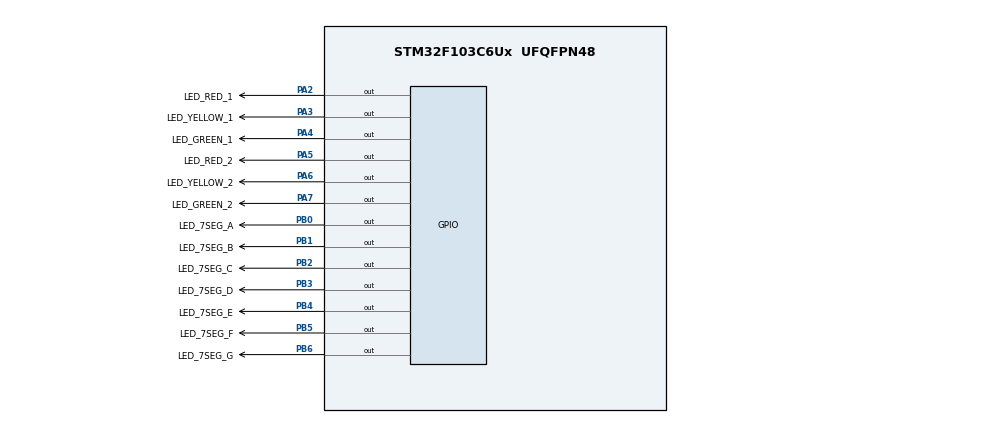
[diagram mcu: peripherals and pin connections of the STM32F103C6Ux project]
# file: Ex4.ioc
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Mcu.Family=STM32F1
Mcu.Name=STM32F103C6Ux
Mcu.Package=UFQFPN48
NVIC.PriorityGroup=NVIC_PRIORITYGROUP_4
PA2.GPIO_Label=LED_RED_1
PA2.Signal=GPIO_Output
PA3.GPIO_Label=LED_YELLOW_1
PA3.Signal=GPIO_Output
PA4.GPIO_Label=LED_GREEN_1
PA4.Signal=GPIO_Output
PA5.GPIO_Label=LED_RED_2
PA5.Signal=GPIO_Output
PA6.GPIO_Label=LED_YELLOW_2
PA6.Signal=GPIO_Output
PA7.GPIO_Label=LED_GREEN_2
PA7.Signal=GPIO_Output
PB0.GPIO_Label=LED_7SEG_A
PB0.Signal=GPIO_Output
PB1.GPIO_Label=LED_7SEG_B
PB1.Signal=GPIO_Output
PB2.GPIO_Label=LED_7SEG_C
PB2.Signal=GPIO_Output
PB3.GPIO_Label=LED_7SEG_D
PB3.Signal=GPIO_Output
PB4.GPIO_Label=LED_7SEG_E
PB4.Signal=GPIO_Output
PB5.GPIO_Label=LED_7SEG_F
PB5.Signal=GPIO_Output
PB6.GPIO_Label=LED_7SEG_G
PB6.Signal=GPIO_Output
ProjectManager.HeapSize=0x200
ProjectManager.StackSize=0x400
ProjectManager.TargetToolchain=STM32CubeIDE
RCC.APB1Freq_Value=8000000
RCC.APB2Freq_Value=8000000
VP_SYS_VS_ND.Mode=No_Debug
board=custom

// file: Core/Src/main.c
/* USER CODE BEGIN Header */
/**
  ******************************************************************************
  * @file           : main.c
  * @brief          : Main program body
  ******************************************************************************
  * @attention
  *
  * <h2><center>&copy; Copyright (c) 2022 STMicroelectronics.
  * All rights reserved.</center></h2>
  *
  * This software component is licensed by ST under BSD 3-Clause license,
  * the "License"; You may not use this file except in compliance with the
  * License. You may obtain a copy of the License at:
  *                        opensource.org/licenses/BSD-3-Clause
  *
  ******************************************************************************
  */
/* USER CODE END Header */
#include "main.h"

void SystemClock_Config(void);
static void MX_GPIO_Init(void);

void display7SEG(int num){
	switch(num){
	case 0:
		HAL_GPIO_WritePin(LED_7SEG_A_GPIO_Port, LED_7SEG_A_Pin, 0);
		HAL_GPIO_WritePin(LED_7SEG_B_GPIO_Port, LED_7SEG_B_Pin, 0);
		HAL_GPIO_WritePin(LED_7SEG_C_GPIO_Port, LED_7SEG_C_Pin, 0);
		HAL_GPIO_WritePin(LED_7SEG_D_GPIO_Port, LED_7SEG_D_Pin, 0);
		HAL_GPIO_WritePin(LED_7SEG_E_GPIO_Port, LED_7SEG_E_Pin, 0);
		HAL_GPIO_WritePin(LED_7SEG_F_GPIO_Port, LED_7SEG_F_Pin, 0);
		HAL_GPIO_WritePin(LED_7SEG_G_GPIO_Port, LED_7SEG_G_Pin, 1);
		break;
	case 1:
		HAL_GPIO_WritePin(LED_7SEG_A_GPIO_Port, LED_7SEG_A_Pin, 1);
		HAL_GPIO_WritePin(LED_7SEG_B_GPIO_Port, LED_7SEG_B_Pin, 0);
		HAL_GPIO_WritePin(LED_7SEG_C_GPIO_Port, LED_7SEG_C_Pin, 0);
		HAL_GPIO_WritePin(LED_7SEG_D_GPIO_Port, LED_7SEG_D_Pin, 1);
		HAL_GPIO_WritePin(LED_7SEG_E_GPIO_Port, LED_7SEG_E_Pin, 1);
		HAL_GPIO_WritePin(LED_7SEG_F_GPIO_Port, LED_7SEG_F_Pin, 1);
		HAL_GPIO_WritePin(LED_7SEG_G_GPIO_Port, LED_7SEG_G_Pin, 1);
		break;
	case 2:
		HAL_GPIO_WritePin(LED_7SEG_A_GPIO_Port, LED_7SEG_A_Pin, 0);
		HAL_GPIO_WritePin(LED_7SEG_B_GPIO_Port, LED_7SEG_B_Pin, 0);
		HAL_GPIO_WritePin(LED_7SEG_C_GPIO_Port, LED_7SEG_C_Pin, 1);
		HAL_GPIO_WritePin(LED_7SEG_D_GPIO_Port, LED_7SEG_D_Pin, 0);
		HAL_GPIO_WritePin(LED_7SEG_E_GPIO_Port, LED_7SEG_E_Pin, 0);
		HAL_GPIO_WritePin(LED_7SEG_F_GPIO_Port, LED_7SEG_F_Pin, 1);
		HAL_GPIO_WritePin(LED_7SEG_G_GPIO_Port, LED_7SEG_G_Pin, 0);
		break;
	case 3:
		HAL_GPIO_WritePin(LED_7SEG_A_GPIO_Port, LED_7SEG_A_Pin, 0);
		HAL_GPIO_WritePin(LED_7SEG_B_GPIO_Port, LED_7SEG_B_Pin, 0);
		HAL_GPIO_WritePin(LED_7SEG_C_GPIO_Port, LED_7SEG_C_Pin, 0);
		HAL_GPIO_WritePin(LED_7SEG_D_GPIO_Port, LED_7SEG_D_Pin, 0);
		HAL_GPIO_WritePin(LED_7SEG_E_GPIO_Port, LED_7SEG_E_Pin, 1);
		HAL_GPIO_WritePin(LED_7SEG_F_GPIO_Port, LED_7SEG_F_Pin, 1);
		HAL_GPIO_WritePin(LED_7SEG_G_GPIO_Port, LED_7SEG_G_Pin, 0);
		break;
	case 4:
		HAL_GPIO_WritePin(LED_7SEG_A_GPIO_Port, LED_7SEG_A_Pin, 1);
		HAL_GPIO_WritePin(LED_7SEG_B_GPIO_Port, LED_7SEG_B_Pin, 0);
		HAL_GPIO_WritePin(LED_7SEG_C_GPIO_Port, LED_7SEG_C_Pin, 0);
		HAL_GPIO_WritePin(LED_7SEG_D_GPIO_Port, LED_7SEG_D_Pin, 1);
		HAL_GPIO_WritePin(LED_7SEG_E_GPIO_Port, LED_7SEG_E_Pin, 1);
		HAL_GPIO_WritePin(LED_7SEG_F_GPIO_Port, LED_7SEG_F_Pin, 0);
		HAL_GPIO_WritePin(LED_7SEG_G_GPIO_Port, LED_7SEG_G_Pin, 0);
		break;
	case 5:
		HAL_GPIO_WritePin(LED_7SEG_A_GPIO_Port, LED_7SEG_A_Pin, 0);
		HAL_GPIO_WritePin(LED_7SEG_B_GPIO_Port, LED_7SEG_B_Pin, 1);
		HAL_GPIO_WritePin(LED_7SEG_C_GPIO_Port, LED_7SEG_C_Pin, 0);
		HAL_GPIO_WritePin(LED_7SEG_D_GPIO_Port, LED_7SEG_D_Pin, 0);
		HAL_GPIO_WritePin(LED_7SEG_E_GPIO_Port, LED_7SEG_E_Pin, 1);
		HAL_GPIO_WritePin(LED_7SEG_F_GPIO_Port, LED_7SEG_F_Pin, 0);
		HAL_GPIO_WritePin(LED_7SEG_G_GPIO_Port, LED_7SEG_G_Pin, 0);
		break;
	case 6:
		HAL_GPIO_WritePin(LED_7SEG_A_GPIO_Port, LED_7SEG_A_Pin, 0);
		HAL_GPIO_WritePin(LED_7SEG_B_GPIO_Port, LED_7SEG_B_Pin, 1);
		HAL_GPIO_WritePin(LED_7SEG_C_GPIO_Port, LED_7SEG_C_Pin, 0);
		HAL_GPIO_WritePin(LED_7SEG_D_GPIO_Port, LED_7SEG_D_Pin, 0);
		HAL_GPIO_WritePin(LED_7SEG_E_GPIO_Port, LED_7SEG_E_Pin, 0);
		HAL_GPIO_WritePin(LED_7SEG_F_GPIO_Port, LED_7SEG_F_Pin, 0);
		HAL_GPIO_WritePin(LED_7SEG_G_GPIO_Port, LED_7SEG_G_Pin, 0);
		break;
	case 7:
		HAL_GPIO_WritePin(LED_7SEG_A_GPIO_Port, LED_7SEG_A_Pin, 0);
		HAL_GPIO_WritePin(LED_7SEG_B_GPIO_Port, LED_7SEG_B_Pin, 0);
		HAL_GPIO_WritePin(LED_7SEG_C_GPIO_Port, LED_7SEG_C_Pin, 0);
		HAL_GPIO_WritePin(LED_7SEG_D_GPIO_Port, LED_7SEG_D_Pin, 1);
		HAL_GPIO_WritePin(LED_7SEG_E_GPIO_Port, LED_7SEG_E_Pin, 1);
		HAL_GPIO_WritePin(LED_7SEG_F_GPIO_Port, LED_7SEG_F_Pin, 1);
		HAL_GPIO_WritePin(LED_7SEG_G_GPIO_Port, LED_7SEG_G_Pin, 1);
		break;
	case 8:
		HAL_GPIO_WritePin(LED_7SEG_A_GPIO_Port, LED_7SEG_A_Pin, 0);
		HAL_GPIO_WritePin(LED_7SEG_B_GPIO_Port, LED_7SEG_B_Pin, 0);
		HAL_GPIO_WritePin(LED_7SEG_C_GPIO_Port, LED_7SEG_C_Pin, 0);
		HAL_GPIO_WritePin(LED_7SEG_D_GPIO_Port, LED_7SEG_D_Pin, 0);
		HAL_GPIO_WritePin(LED_7SEG_E_GPIO_Port, LED_7SEG_E_Pin, 0);
		HAL_GPIO_WritePin(LED_7SEG_F_GPIO_Port, LED_7SEG_F_Pin, 0);
		HAL_GPIO_WritePin(LED_7SEG_G_GPIO_Port, LED_7SEG_G_Pin, 0);
		break;
	case 9:
		HAL_GPIO_WritePin(LED_7SEG_A_GPIO_Port, LED_7SEG_A_Pin, 0);
		HAL_GPIO_WritePin(LED_7SEG_B_GPIO_Port, LED_7SEG_B_Pin, 0);
		HAL_GPIO_WritePin(LED_7SEG_C_GPIO_Port, LED_7SEG_C_Pin, 0);
		HAL_GPIO_WritePin(LED_7SEG_D_GPIO_Port, LED_7SEG_D_Pin, 0);
		HAL_GPIO_WritePin(LED_7SEG_E_GPIO_Port, LED_7SEG_E_Pin, 1);
		HAL_GPIO_WritePin(LED_7SEG_F_GPIO_Port, LED_7SEG_F_Pin, 0);
		HAL_GPIO_WritePin(LED_7SEG_G_GPIO_Port, LED_7SEG_G_Pin, 0);
		break;
	default:
		HAL_GPIO_WritePin(LED_7SEG_A_GPIO_Port, LED_7SEG_A_Pin, 1);
		HAL_GPIO_WritePin(LED_7SEG_B_GPIO_Port, LED_7SEG_B_Pin, 1);
		HAL_GPIO_WritePin(LED_7SEG_C_GPIO_Port, LED_7SEG_C_Pin, 1);
		HAL_GPIO_WritePin(LED_7SEG_D_GPIO_Port, LED_7SEG_D_Pin, 1);
		HAL_GPIO_WritePin(LED_7SEG_E_GPIO_Port, LED_7SEG_E_Pin, 1);
		HAL_GPIO_WritePin(LED_7SEG_F_GPIO_Port, LED_7SEG_F_Pin, 1);
		HAL_GPIO_WritePin(LED_7SEG_G_GPIO_Port, LED_7SEG_G_Pin, 1);
		break;
	}
}

int main(void)
{

  /* MCU Configuration--------------------------------------------------------*/

  /* Reset of all peripherals, Initializes the Flash interface and the Systick. */
  HAL_Init();

  /* Configure the system clock */
  SystemClock_Config();

  /* Initialize all configured peripherals */
  MX_GPIO_Init();

  /* Infinite loop */
  /* USER CODE BEGIN WHILE */
  int count =0;
  while (1)
  {
	  display7SEG(count);

	  switch (count) {
		case 0:
			HAL_GPIO_WritePin(LED_RED_1_GPIO_Port, LED_RED_1_Pin, GPIO_PIN_RESET);
			HAL_GPIO_WritePin(LED_YELLOW_1_GPIO_Port, LED_YELLOW_1_Pin, GPIO_PIN_SET);
			HAL_GPIO_WritePin(LED_GREEN_1_GPIO_Port, LED_GREEN_1_Pin, GPIO_PIN_SET);
			break;
		case 5:
			HAL_GPIO_TogglePin(LED_RED_1_GPIO_Port, LED_RED_1_Pin);
			HAL_GPIO_TogglePin(LED_GREEN_1_GPIO_Port, LED_GREEN_1_Pin);
			break;
		case 8:
			HAL_GPIO_TogglePin(LED_GREEN_1_GPIO_Port, LED_GREEN_1_Pin);
			HAL_GPIO_TogglePin(LED_YELLOW_1_GPIO_Port, LED_YELLOW_1_Pin);
			break;
		default:
			break;
	  }

	  switch (count) {
		case 0:
			HAL_GPIO_WritePin(LED_RED_2_GPIO_Port, LED_RED_2_Pin, GPIO_PIN_SET);
			HAL_GPIO_WritePin(LED_YELLOW_2_GPIO_Port, LED_YELLOW_2_Pin, GPIO_PIN_SET);
			HAL_GPIO_WritePin(LED_GREEN_2_GPIO_Port, LED_GREEN_2_Pin, GPIO_PIN_RESET);
			count++;
			break;
		case 3:
			HAL_GPIO_TogglePin(LED_GREEN_2_GPIO_Port, LED_GREEN_2_Pin);
			HAL_GPIO_TogglePin(LED_YELLOW_2_GPIO_Port, LED_YELLOW_2_Pin);
			count++;
			break;
		case 5:
			HAL_GPIO_TogglePin(LED_YELLOW_2_GPIO_Port, LED_YELLOW_2_Pin);
			HAL_GPIO_TogglePin(LED_RED_2_GPIO_Port, LED_RED_2_Pin);
			count++;
			break;
		case 9:
			count =0;
			break;
		default:
			count++;
			break;
	}
	HAL_Delay(1000);
    /* USER CODE END WHILE */

  }
}

void SystemClock_Config(void)
{
  RCC_OscInitTypeDef RCC_OscInitStruct = {0};
  RCC_ClkInitTypeDef RCC_ClkInitStruct = {0};

  /** Initializes the RCC Oscillators according to the specified parameters
  * in the RCC_OscInitTypeDef structure.
  */
  RCC_OscInitStruct.OscillatorType = RCC_OSCILLATORTYPE_HSI;
  RCC_OscInitStruct.HSIState = RCC_HSI_ON;
  RCC_OscInitStruct.HSICalibrationValue = RCC_HSICALIBRATION_DEFAULT;
  RCC_OscInitStruct.PLL.PLLState = RCC_PLL_NONE;
  if (HAL_RCC_OscConfig(&RCC_OscInitStruct) != HAL_OK)
  {
    Error_Handler();
  }
  /** Initializes the CPU, AHB and APB buses clocks
  */
  RCC_ClkInitStruct.ClockType = RCC_CLOCKTYPE_HCLK|RCC_CLOCKTYPE_SYSCLK
                              |RCC_CLOCKTYPE_PCLK1|RCC_CLOCKTYPE_PCLK2;
  RCC_ClkInitStruct.SYSCLKSource = RCC_SYSCLKSOURCE_HSI;
  RCC_ClkInitStruct.AHBCLKDivider = RCC_SYSCLK_DIV1;
  RCC_ClkInitStruct.APB1CLKDivider = RCC_HCLK_DIV1;
  RCC_ClkInitStruct.APB2CLKDivider = RCC_HCLK_DIV1;

  if (HAL_RCC_ClockConfig(&RCC_ClkInitStruct, FLASH_LATENCY_0) != HAL_OK)
  {
    Error_Handler();
  }
}

static void MX_GPIO_Init(void)
{
  GPIO_InitTypeDef GPIO_InitStruct = {0};

  /* GPIO Ports Clock Enable */
  __HAL_RCC_GPIOA_CLK_ENABLE();
  __HAL_RCC_GPIOB_CLK_ENABLE();

  /*Configure GPIO pin Output Level */
  HAL_GPIO_WritePin(GPIOA, LED_RED_1_Pin|LED_YELLOW_1_Pin|LED_GREEN_1_Pin|LED_RED_2_Pin
                          |LED_YELLOW_2_Pin|LED_GREEN_2_Pin, GPIO_PIN_RESET);

  /*Configure GPIO pin Output Level */
  HAL_GPIO_WritePin(GPIOB, LED_7SEG_A_Pin|LED_7SEG_B_Pin|LED_7SEG_C_Pin|LED_7SEG_D_Pin
                          |LED_7SEG_E_Pin|LED_7SEG_F_Pin|LED_7SEG_G_Pin, GPIO_PIN_RESET);

  /*Configure GPIO pins : LED_RED_1_Pin LED_YELLOW_1_Pin LED_GREEN_1_Pin LED_RED_2_Pin
                           LED_YELLOW_2_Pin LED_GREEN_2_Pin */
  GPIO_InitStruct.Pin = LED_RED_1_Pin|LED_YELLOW_1_Pin|LED_GREEN_1_Pin|LED_RED_2_Pin
                          |LED_YELLOW_2_Pin|LED_GREEN_2_Pin;
  GPIO_InitStruct.Mode = GPIO_MODE_OUTPUT_PP;
  GPIO_InitStruct.Pull = GPIO_NOPULL;
  GPIO_InitStruct.Speed = GPIO_SPEED_FREQ_LOW;
  HAL_GPIO_Init(GPIOA, &GPIO_InitStruct);

  /*Configure GPIO pins : LED_7SEG_A_Pin LED_7SEG_B_Pin LED_7SEG_C_Pin LED_7SEG_D_Pin
                           LED_7SEG_E_Pin LED_7SEG_F_Pin LED_7SEG_G_Pin */
  GPIO_InitStruct.Pin = LED_7SEG_A_Pin|LED_7SEG_B_Pin|LED_7SEG_C_Pin|LED_7SEG_D_Pin
                          |LED_7SEG_E_Pin|LED_7SEG_F_Pin|LED_7SEG_G_Pin;
  GPIO_InitStruct.Mode = GPIO_MODE_OUTPUT_PP;
  GPIO_InitStruct.Pull = GPIO_NOPULL;
  GPIO_InitStruct.Speed = GPIO_SPEED_FREQ_LOW;
  HAL_GPIO_Init(GPIOB, &GPIO_InitStruct);

}

void Error_Handler(void)
{
  __disable_irq();
  while (1)
  {
  }
}

/************************ (C) COPYRIGHT STMicroelectronics *****END OF FILE****/
